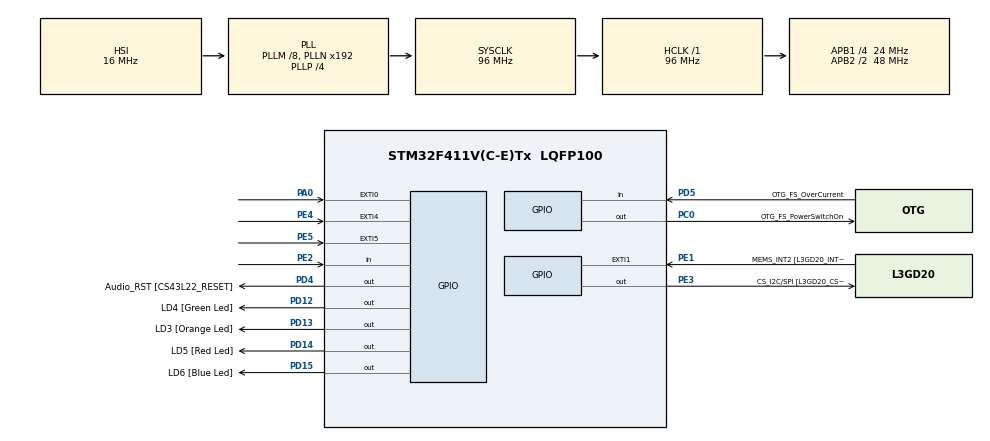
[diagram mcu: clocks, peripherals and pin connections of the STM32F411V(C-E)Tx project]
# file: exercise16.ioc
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FREERTOS.BinarySemaphores01=SemaSync1,Dynamic,NULL;SemaSync2,Dynamic,NULL
FREERTOS.Tasks01=GreenLED,0,128,StartGreenLED,Default,NULL,Dynamic,NULL,NULL;RedLED,0,128,StartRedLED,Default,NULL,Dynamic,NULL,NULL
Mcu.Family=STM32F4
Mcu.Name=STM32F411V(C-E)Tx
Mcu.Package=LQFP100
NVIC.PriorityGroup=NVIC_PRIORITYGROUP_4
NVIC.TIM1_UP_TIM10_IRQn=true\:0\:0\:false\:false\:true\:false\:false\:true
NVIC.TimeBase=TIM1_UP_TIM10_IRQn
NVIC.TimeBaseIP=TIM1
PA0-WKUP.GPIO_ModeDefaultEXTI=GPIO_MODE_EVT_RISING
PA0-WKUP.Signal=GPXTI0
PA10.GPIO_Label=OTG_FS_ID
PA10.Signal=USB_OTG_FS_ID
PA11.GPIO_Label=OTG_FS_DM
PA11.Signal=USB_OTG_FS_DM
PA12.GPIO_Label=OTG_FS_DP
PA12.Signal=USB_OTG_FS_DP
PA13.GPIO_Label=SWDIO
PA13.Signal=SYS_JTMS-SWDIO
PA14.GPIO_Label=SWCLK
PA14.Signal=SYS_JTCK-SWCLK
PA4.GPIO_Label=I2S3_WS [CS43L22_LRCK]
PA4.GPIO_Mode=GPIO_MODE_AF_PP
PA4.GPIO_PuPd=GPIO_NOPULL
PA4.GPIO_Speed=GPIO_SPEED_FREQ_LOW
PA4.Signal=I2S3_WS
PA5.GPIO_Label=SPI1_SCK [L3GD20_SC/SPC]
PA5.Signal=SPI1_SCK
PA6.GPIO_Label=SPI1_MISO [L3GD20_AS0/SDO]
PA6.Signal=SPI1_MISO
PA7.GPIO_Label=SPI1_MOSI [L3GD20_SDA/SDI/SDO]
PA7.Signal=SPI1_MOSI
PA9.GPIO_Label=VBUS_FS
PA9.Signal=USB_OTG_FS_VBUS
PB10.GPIO_Label=CLK_IN [MP45DT02_CLK]
PB10.Signal=I2S2_CK
PB12.Signal=I2S2_WS
PB3.GPIO_Label=SWO
PB3.Signal=SYS_JTDO-SWO
PB6.GPIO_Label=Audio_SCL [CS43L22_SCL]
PB6.GPIO_Mode=GPIO_MODE_AF_OD
PB6.GPIO_PuPd=GPIO_NOPULL
PB6.GPIO_Speed=GPIO_SPEED_FREQ_LOW
PB6.Signal=I2C1_SCL
PB9.GPIO_Label=Audio_SDA [CS43L22_SDA]
PB9.GPIO_Mode=GPIO_MODE_AF_OD
PB9.GPIO_PuPd=GPIO_NOPULL
PB9.GPIO_Speed=GPIO_SPEED_FREQ_LOW
PB9.Signal=I2C1_SDA
PC0.GPIO_Label=OTG_FS_PowerSwitchOn
PC0.PinState=GPIO_PIN_SET
PC0.Signal=GPIO_Output
PC10.GPIO_Label=I2S3_SCK [CS43L22_SCLK]
PC10.GPIO_Mode=GPIO_MODE_AF_PP
PC10.GPIO_PuPd=GPIO_NOPULL
PC10.GPIO_Speed=GPIO_SPEED_FREQ_LOW
PC10.Signal=I2S3_CK
PC12.GPIO_Label=I2S3_SD [CS43L22_SDIN]
PC12.GPIO_Mode=GPIO_MODE_AF_PP
PC12.GPIO_PuPd=GPIO_NOPULL
PC12.GPIO_Speed=GPIO_SPEED_FREQ_LOW
PC12.Signal=I2S3_SD
PC14-OSC32_IN.GPIO_Label=PC14-OSC32_IN
PC14-OSC32_IN.Signal=RCC_OSC32_IN
PC15-OSC32_OUT.GPIO_Label=PC15-OSC32_OUT
PC15-OSC32_OUT.Signal=RCC_OSC32_OUT
PC3.GPIO_Label=PDM_OUT [MP45DT02_DOUT]
PC3.Signal=I2S2_SD
PC7.GPIO_Label=I2S3_MCK [CS43L22_MCLK]
PC7.GPIO_Mode=GPIO_MODE_AF_PP
PC7.GPIO_PuPd=GPIO_NOPULL
PC7.GPIO_Speed=GPIO_SPEED_FREQ_LOW
PC7.Signal=I2S3_MCK
PD12.GPIO_Label=LD4 [Green Led]
PD12.GPIO_PuPd=GPIO_NOPULL
PD12.GPIO_Speed=GPIO_SPEED_FREQ_LOW
PD12.Signal=GPIO_Output
PD13.GPIO_Label=LD3 [Orange Led]
PD13.GPIO_PuPd=GPIO_NOPULL
PD13.GPIO_Speed=GPIO_SPEED_FREQ_LOW
PD13.Signal=GPIO_Output
PD14.GPIO_Label=LD5 [Red Led]
PD14.GPIO_PuPd=GPIO_NOPULL
PD14.GPIO_Speed=GPIO_SPEED_FREQ_LOW
PD14.Signal=GPIO_Output
PD15.GPIO_Label=LD6 [Blue Led]
PD15.GPIO_PuPd=GPIO_NOPULL
PD15.GPIO_Speed=GPIO_SPEED_FREQ_LOW
PD15.Signal=GPIO_Output
PD4.GPIO_Label=Audio_RST [CS43L22_RESET]
PD4.Signal=GPIO_Output
PD5.GPIO_Label=OTG_FS_OverCurrent
PD5.Signal=GPIO_Input
PE1.GPIO_Label=MEMS_INT2 [L3GD20_INT2]
PE1.GPIO_ModeDefaultEXTI=GPIO_MODE_EVT_RISING
PE1.Signal=GPXTI1
PE2.Signal=GPIO_Input
PE3.GPIO_Label=CS_I2C/SPI [L3GD20_CS_I2C/SPI]
PE3.Signal=GPIO_Output
PE4.GPIO_ModeDefaultEXTI=GPIO_MODE_EVT_RISING
PE4.Signal=GPXTI4
PE5.GPIO_ModeDefaultEXTI=GPIO_MODE_EVT_RISING
PE5.Signal=GPXTI5
PH0\ -\ OSC_IN.GPIO_Label=PH0-OSC_IN
PH0\ -\ OSC_IN.Signal=RCC_OSC_IN
PH1\ -\ OSC_OUT.GPIO_Label=PH1-OSC_OUT
PH1\ -\ OSC_OUT.Signal=RCC_OSC_OUT
ProjectManager.HeapSize=0x200
ProjectManager.StackSize=0x400
ProjectManager.TargetToolchain=STM32CubeIDE
RCC.48MHZClocksFreq_Value=48000000
RCC.AHBFreq_Value=96000000
RCC.APB1CLKDivider=RCC_HCLK_DIV4
RCC.APB1Freq_Value=24000000
RCC.APB1TimFreq_Value=48000000
RCC.APB2CLKDivider=RCC_HCLK_DIV2
RCC.APB2Freq_Value=48000000
RCC.APB2TimFreq_Value=96000000
RCC.CortexFreq_Value=96000000
RCC.HCLKFreq_Value=96000000
RCC.HSE_VALUE=8000000
RCC.HSI_VALUE=16000000
RCC.LSE_VALUE=32768
RCC.PLLI2SM=5
RCC.PLLI2SN=200
RCC.PLLM=8
RCC.PLLP=RCC_PLLP_DIV4
RCC.PLLQ=8
RCC.SYSCLKFreq_VALUE=96000000
RCC.SYSCLKSource=RCC_SYSCLKSOURCE_PLLCLK
RCC.VCOOutputFreq_Value=384000000
VP_FREERTOS_VS_CMSIS_V1.Mode=CMSIS_V1
VP_SYS_VS_tim1.Mode=TIM1
board=STM32F411E-DISCO

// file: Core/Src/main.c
/* USER CODE BEGIN Header */
/**
  ******************************************************************************
  * @file           : main.c
  * @brief          : Main program body
  ******************************************************************************
  * @attention
  *
  * <h2><center>&copy; Copyright (c) 2021 STMicroelectronics.
  * All rights reserved.</center></h2>
  *
  * This software component is licensed by ST under BSD 3-Clause license,
  * the "License"; You may not use this file except in compliance with the
  * License. You may obtain a copy of the License at:
  *                        opensource.org/licenses/BSD-3-Clause
  *
  ******************************************************************************
  */
/* USER CODE END Header */

#include "main.h"
#include "cmsis_os.h"

#define RED GPIO_PIN_14
#define GREEN GPIO_PIN_12
#define BLUE GPIO_PIN_15

osThreadId GreenLEDHandle;
osThreadId RedLEDHandle;
osSemaphoreId SemaSync1Handle;
osSemaphoreId SemaSync2Handle;

void SystemClock_Config(void);
static void MX_GPIO_Init(void);
void StartGreenLED(void const * argument);
void StartRedLED(void const * argument);

int main(void)
{

  /* MCU Configuration--------------------------------------------------------*/

  /* Reset of all peripherals, Initializes the Flash interface and the Systick. */
  HAL_Init();

  /* Configure the system clock */
  SystemClock_Config();

  /* Initialize all configured peripherals */
  MX_GPIO_Init();

  /* Create the semaphores(s) */
  /* definition and creation of SemaSync1 */
  osSemaphoreDef(SemaSync1);
  SemaSync1Handle = osSemaphoreCreate(osSemaphore(SemaSync1), 1);

  /* definition and creation of SemaSync2 */
  osSemaphoreDef(SemaSync2);
  SemaSync2Handle = osSemaphoreCreate(osSemaphore(SemaSync2), 1);

  /* USER CODE BEGIN RTOS_SEMAPHORES */
  osSemaphoreWait(SemaSync1Handle, 0);
  osSemaphoreWait(SemaSync2Handle, 0);
  /* USER CODE END RTOS_SEMAPHORES */

  /* Create the thread(s) */
  /* definition and creation of GreenLED */
  osThreadDef(GreenLED, StartGreenLED, osPriorityNormal, 0, 128);
  GreenLEDHandle = osThreadCreate(osThread(GreenLED), NULL);

  /* definition and creation of RedLED */
  osThreadDef(RedLED, StartRedLED, osPriorityNormal, 0, 128);
  RedLEDHandle = osThreadCreate(osThread(RedLED), NULL);

  /* Start scheduler */
  osKernelStart();

  /* We should never get here as control is now taken by the scheduler */

  /* Infinite loop */
  while (1)
  {

  }
}

void SystemClock_Config(void)
{
  RCC_OscInitTypeDef RCC_OscInitStruct = {0};
  RCC_ClkInitTypeDef RCC_ClkInitStruct = {0};

  /** Configure the main internal regulator output voltage
  */
  __HAL_RCC_PWR_CLK_ENABLE();
  __HAL_PWR_VOLTAGESCALING_CONFIG(PWR_REGULATOR_VOLTAGE_SCALE1);
  /** Initializes the CPU, AHB and APB busses clocks
  */
  RCC_OscInitStruct.OscillatorType = RCC_OSCILLATORTYPE_HSI;
  RCC_OscInitStruct.HSIState = RCC_HSI_ON;
  RCC_OscInitStruct.HSICalibrationValue = RCC_HSICALIBRATION_DEFAULT;
  RCC_OscInitStruct.PLL.PLLState = RCC_PLL_ON;
  RCC_OscInitStruct.PLL.PLLSource = RCC_PLLSOURCE_HSI;
  RCC_OscInitStruct.PLL.PLLM = 8;
  RCC_OscInitStruct.PLL.PLLN = 192;
  RCC_OscInitStruct.PLL.PLLP = RCC_PLLP_DIV4;
  RCC_OscInitStruct.PLL.PLLQ = 8;
  if (HAL_RCC_OscConfig(&RCC_OscInitStruct) != HAL_OK)
  {
    Error_Handler();
  }
  /** Initializes the CPU, AHB and APB busses clocks
  */
  RCC_ClkInitStruct.ClockType = RCC_CLOCKTYPE_HCLK|RCC_CLOCKTYPE_SYSCLK
                              |RCC_CLOCKTYPE_PCLK1|RCC_CLOCKTYPE_PCLK2;
  RCC_ClkInitStruct.SYSCLKSource = RCC_SYSCLKSOURCE_PLLCLK;
  RCC_ClkInitStruct.AHBCLKDivider = RCC_SYSCLK_DIV1;
  RCC_ClkInitStruct.APB1CLKDivider = RCC_HCLK_DIV4;
  RCC_ClkInitStruct.APB2CLKDivider = RCC_HCLK_DIV2;

  if (HAL_RCC_ClockConfig(&RCC_ClkInitStruct, FLASH_LATENCY_3) != HAL_OK)
  {
    Error_Handler();
  }
}

static void MX_GPIO_Init(void)
{
  GPIO_InitTypeDef GPIO_InitStruct = {0};

  /* GPIO Ports Clock Enable */
  __HAL_RCC_GPIOE_CLK_ENABLE();
  __HAL_RCC_GPIOC_CLK_ENABLE();
  __HAL_RCC_GPIOH_CLK_ENABLE();
  __HAL_RCC_GPIOA_CLK_ENABLE();
  __HAL_RCC_GPIOB_CLK_ENABLE();
  __HAL_RCC_GPIOD_CLK_ENABLE();

  /*Configure GPIO pin Output Level */
  HAL_GPIO_WritePin(CS_I2C_SPI_GPIO_Port, CS_I2C_SPI_Pin, GPIO_PIN_RESET);

  /*Configure GPIO pin Output Level */
  HAL_GPIO_WritePin(OTG_FS_PowerSwitchOn_GPIO_Port, OTG_FS_PowerSwitchOn_Pin, GPIO_PIN_SET);

  /*Configure GPIO pin Output Level */
  HAL_GPIO_WritePin(GPIOD, LD4_Pin|LD3_Pin|LD5_Pin|LD6_Pin
                          |Audio_RST_Pin, GPIO_PIN_RESET);

  /*Configure GPIO pin : PE2 */
  GPIO_InitStruct.Pin = GPIO_PIN_2;
  GPIO_InitStruct.Mode = GPIO_MODE_INPUT;
  GPIO_InitStruct.Pull = GPIO_NOPULL;
  HAL_GPIO_Init(GPIOE, &GPIO_InitStruct);

  /*Configure GPIO pin : CS_I2C_SPI_Pin */
  GPIO_InitStruct.Pin = CS_I2C_SPI_Pin;
  GPIO_InitStruct.Mode = GPIO_MODE_OUTPUT_PP;
  GPIO_InitStruct.Pull = GPIO_NOPULL;
  GPIO_InitStruct.Speed = GPIO_SPEED_FREQ_LOW;
  HAL_GPIO_Init(CS_I2C_SPI_GPIO_Port, &GPIO_InitStruct);

  /*Configure GPIO pins : PE4 PE5 MEMS_INT2_Pin */
  GPIO_InitStruct.Pin = GPIO_PIN_4|GPIO_PIN_5|MEMS_INT2_Pin;
  GPIO_InitStruct.Mode = GPIO_MODE_EVT_RISING;
  GPIO_InitStruct.Pull = GPIO_NOPULL;
  HAL_GPIO_Init(GPIOE, &GPIO_InitStruct);

  /*Configure GPIO pin : OTG_FS_PowerSwitchOn_Pin */
  GPIO_InitStruct.Pin = OTG_FS_PowerSwitchOn_Pin;
  GPIO_InitStruct.Mode = GPIO_MODE_OUTPUT_PP;
  GPIO_InitStruct.Pull = GPIO_NOPULL;
  GPIO_InitStruct.Speed = GPIO_SPEED_FREQ_LOW;
  HAL_GPIO_Init(OTG_FS_PowerSwitchOn_GPIO_Port, &GPIO_InitStruct);

  /*Configure GPIO pin : PDM_OUT_Pin */
  GPIO_InitStruct.Pin = PDM_OUT_Pin;
  GPIO_InitStruct.Mode = GPIO_MODE_AF_PP;
  GPIO_InitStruct.Pull = GPIO_NOPULL;
  GPIO_InitStruct.Speed = GPIO_SPEED_FREQ_LOW;
  GPIO_InitStruct.Alternate = GPIO_AF5_SPI2;
  HAL_GPIO_Init(PDM_OUT_GPIO_Port, &GPIO_InitStruct);

  /*Configure GPIO pin : PA0 */
  GPIO_InitStruct.Pin = GPIO_PIN_0;
  GPIO_InitStruct.Mode = GPIO_MODE_EVT_RISING;
  GPIO_InitStruct.Pull = GPIO_NOPULL;
  HAL_GPIO_Init(GPIOA, &GPIO_InitStruct);

  /*Configure GPIO pin : I2S3_WS_Pin */
  GPIO_InitStruct.Pin = I2S3_WS_Pin;
  GPIO_InitStruct.Mode = GPIO_MODE_AF_PP;
  GPIO_InitStruct.Pull = GPIO_NOPULL;
  GPIO_InitStruct.Speed = GPIO_SPEED_FREQ_LOW;
  GPIO_InitStruct.Alternate = GPIO_AF6_SPI3;
  HAL_GPIO_Init(I2S3_WS_GPIO_Port, &GPIO_InitStruct);

  /*Configure GPIO pins : SPI1_SCK_Pin SPI1_MISO_Pin SPI1_MOSI_Pin */
  GPIO_InitStruct.Pin = SPI1_SCK_Pin|SPI1_MISO_Pin|SPI1_MOSI_Pin;
  GPIO_InitStruct.Mode = GPIO_MODE_AF_PP;
  GPIO_InitStruct.Pull = GPIO_NOPULL;
  GPIO_InitStruct.Speed = GPIO_SPEED_FREQ_VERY_HIGH;
  GPIO_InitStruct.Alternate = GPIO_AF5_SPI1;
  HAL_GPIO_Init(GPIOA, &GPIO_InitStruct);

  /*Configure GPIO pins : CLK_IN_Pin PB12 */
  GPIO_InitStruct.Pin = CLK_IN_Pin|GPIO_PIN_12;
  GPIO_InitStruct.Mode = GPIO_MODE_AF_PP;
  GPIO_InitStruct.Pull = GPIO_NOPULL;
  GPIO_InitStruct.Speed = GPIO_SPEED_FREQ_LOW;
  GPIO_InitStruct.Alternate = GPIO_AF5_SPI2;
  HAL_GPIO_Init(GPIOB, &GPIO_InitStruct);

  /*Configure GPIO pins : LD4_Pin LD3_Pin LD5_Pin LD6_Pin
                           Audio_RST_Pin */
  GPIO_InitStruct.Pin = LD4_Pin|LD3_Pin|LD5_Pin|LD6_Pin
                          |Audio_RST_Pin;
  GPIO_InitStruct.Mode = GPIO_MODE_OUTPUT_PP;
  GPIO_InitStruct.Pull = GPIO_NOPULL;
  GPIO_InitStruct.Speed = GPIO_SPEED_FREQ_LOW;
  HAL_GPIO_Init(GPIOD, &GPIO_InitStruct);

  /*Configure GPIO pins : I2S3_MCK_Pin I2S3_SCK_Pin I2S3_SD_Pin */
  GPIO_InitStruct.Pin = I2S3_MCK_Pin|I2S3_SCK_Pin|I2S3_SD_Pin;
  GPIO_InitStruct.Mode = GPIO_MODE_AF_PP;
  GPIO_InitStruct.Pull = GPIO_NOPULL;
  GPIO_InitStruct.Speed = GPIO_SPEED_FREQ_LOW;
  GPIO_InitStruct.Alternate = GPIO_AF6_SPI3;
  HAL_GPIO_Init(GPIOC, &GPIO_InitStruct);

  /*Configure GPIO pin : VBUS_FS_Pin */
  GPIO_InitStruct.Pin = VBUS_FS_Pin;
  GPIO_InitStruct.Mode = GPIO_MODE_INPUT;
  GPIO_InitStruct.Pull = GPIO_NOPULL;
  HAL_GPIO_Init(VBUS_FS_GPIO_Port, &GPIO_InitStruct);

  /*Configure GPIO pins : OTG_FS_ID_Pin OTG_FS_DM_Pin OTG_FS_DP_Pin */
  GPIO_InitStruct.Pin = OTG_FS_ID_Pin|OTG_FS_DM_Pin|OTG_FS_DP_Pin;
  GPIO_InitStruct.Mode = GPIO_MODE_AF_PP;
  GPIO_InitStruct.Pull = GPIO_NOPULL;
  GPIO_InitStruct.Speed = GPIO_SPEED_FREQ_VERY_HIGH;
  GPIO_InitStruct.Alternate = GPIO_AF10_OTG_FS;
  HAL_GPIO_Init(GPIOA, &GPIO_InitStruct);

  /*Configure GPIO pin : OTG_FS_OverCurrent_Pin */
  GPIO_InitStruct.Pin = OTG_FS_OverCurrent_Pin;
  GPIO_InitStruct.Mode = GPIO_MODE_INPUT;
  GPIO_InitStruct.Pull = GPIO_NOPULL;
  HAL_GPIO_Init(OTG_FS_OverCurrent_GPIO_Port, &GPIO_InitStruct);

  /*Configure GPIO pins : Audio_SCL_Pin Audio_SDA_Pin */
  GPIO_InitStruct.Pin = Audio_SCL_Pin|Audio_SDA_Pin;
  GPIO_InitStruct.Mode = GPIO_MODE_AF_OD;
  GPIO_InitStruct.Pull = GPIO_PULLUP;
  GPIO_InitStruct.Speed = GPIO_SPEED_FREQ_LOW;
  GPIO_InitStruct.Alternate = GPIO_AF4_I2C1;
  HAL_GPIO_Init(GPIOB, &GPIO_InitStruct);

}

void StartGreenLED(void const * argument)
{
  /* USER CODE BEGIN 5 */
  /* Infinite loop */
  for(;;)
  {
    for(int i = 0; i < 50*2; i++){
    	HAL_GPIO_TogglePin(GPIOD, GREEN);
    	osDelay(50);
    }
    osSemaphoreWait(SemaSync2Handle, osWaitForever);
    for(int i = 0; i < 10*2; i++){
    	HAL_GPIO_TogglePin(GPIOD, GREEN);
    	osDelay(500);
    }
    osSemaphoreRelease(SemaSync1Handle);
  }
  /* USER CODE END 5 */
}

void StartRedLED(void const * argument)
{
  /* USER CODE BEGIN StartRedLED */
  /* Infinite loop */
  for(;;)
  {
	  for(int i = 0; i < 10*2; i++){
		  HAL_GPIO_TogglePin(GPIOD, RED);
	      osDelay(500);
	  }
	  osSemaphoreRelease(SemaSync2Handle);
	  for(int i = 0; i < 50*2; i++){
		  HAL_GPIO_TogglePin(GPIOD, RED);
		  osDelay(50);
	  }
	  osSemaphoreWait(SemaSync1Handle, osWaitForever);
  }
  /* USER CODE END StartRedLED */
}

void HAL_TIM_PeriodElapsedCallback(TIM_HandleTypeDef *htim)
{
  if (htim->Instance == TIM1) {
    HAL_IncTick();
  }
}

void Error_Handler(void)
{
}

/************************ (C) COPYRIGHT STMicroelectronics *****END OF FILE****/
